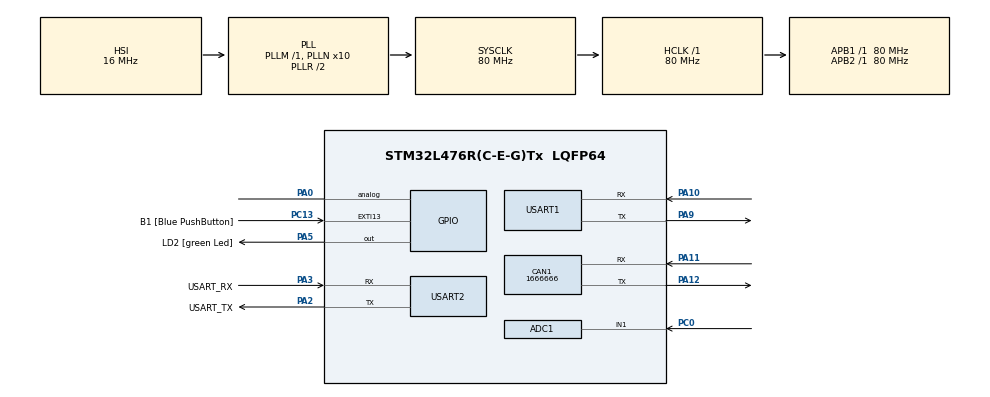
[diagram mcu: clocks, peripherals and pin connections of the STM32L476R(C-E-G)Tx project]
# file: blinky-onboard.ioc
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ADC1.Channel-0\#ChannelRegularConversion=ADC_CHANNEL_1
ADC1.NbrOfConversionFlag=1
ADC1.OffsetNumber-0\#ChannelRegularConversion=ADC_OFFSET_NONE
ADC1.Rank-0\#ChannelRegularConversion=1
ADC1.SamplingTime-0\#ChannelRegularConversion=ADC_SAMPLETIME_2CYCLES_5
ADC1.master=1
CAN1.CalculateBaudRate=1666666
CAN1.CalculateTimeBit=600
CAN1.CalculateTimeQuantum=200.0
Mcu.Family=STM32L4
Mcu.Name=STM32L476R(C-E-G)Tx
Mcu.Package=LQFP64
NVIC.PriorityGroup=NVIC_PRIORITYGROUP_4
PA0.Signal=GPIO_Analog
PA10.Mode=Asynchronous
PA10.Signal=USART1_RX
PA11.Mode=CAN_Activate
PA11.Signal=CAN1_RX
PA12.Mode=CAN_Activate
PA12.Signal=CAN1_TX
PA13\ (JTMS-SWDIO).GPIO_Label=TMS
PA13\ (JTMS-SWDIO).Mode=Serial_Wire
PA13\ (JTMS-SWDIO).Signal=SYS_JTMS-SWDIO
PA14\ (JTCK-SWCLK).GPIO_Label=TCK
PA14\ (JTCK-SWCLK).Mode=Serial_Wire
PA14\ (JTCK-SWCLK).Signal=SYS_JTCK-SWCLK
PA2.GPIO_Label=USART_TX
PA2.GPIO_Mode=GPIO_MODE_AF_PP
PA2.GPIO_PuPd=GPIO_NOPULL
PA2.GPIO_Speed=GPIO_SPEED_FREQ_VERY_HIGH
PA2.Mode=Asynchronous
PA2.Signal=USART2_TX
PA3.GPIO_Label=USART_RX
PA3.GPIO_Mode=GPIO_MODE_AF_PP
PA3.GPIO_PuPd=GPIO_NOPULL
PA3.GPIO_Speed=GPIO_SPEED_FREQ_VERY_HIGH
PA3.Mode=Asynchronous
PA3.Signal=USART2_RX
PA5.GPIO_Label=LD2 [green Led]
PA5.GPIO_ModeDefaultOutputPP=GPIO_MODE_OUTPUT_PP
PA5.GPIO_PuPd=GPIO_NOPULL
PA5.GPIO_Speed=GPIO_SPEED_FREQ_LOW
PA5.Signal=GPIO_Output
PA9.Mode=Asynchronous
PA9.Signal=USART1_TX
PB3\ (JTDO-TRACESWO).GPIO_Label=SWO
PB3\ (JTDO-TRACESWO).Signal=SYS_JTDO-SWO
PC0.Signal=ADCx_IN1
PC13.GPIO_Label=B1 [Blue PushButton]
PC13.GPIO_ModeDefaultEXTI=GPIO_MODE_IT_FALLING
PC13.GPIO_PuPd=GPIO_NOPULL
PC13.Signal=GPXTI13
PC14-OSC32_IN\ (PC14).Mode=LSE-External-Oscillator
PC14-OSC32_IN\ (PC14).Signal=RCC_OSC32_IN
PC15-OSC32_OUT\ (PC15).Mode=LSE-External-Oscillator
PC15-OSC32_OUT\ (PC15).Signal=RCC_OSC32_OUT
PH0-OSC_IN\ (PH0).Signal=RCC_OSC_IN
PH1-OSC_OUT\ (PH1).Signal=RCC_OSC_OUT
ProjectManager.HeapSize=0x200
ProjectManager.StackSize=0x400
ProjectManager.TargetToolchain=STM32CubeIDE
RCC.ADCFreq_Value=64000000
RCC.AHBFreq_Value=80000000
RCC.APB1Freq_Value=80000000
RCC.APB1TimFreq_Value=80000000
RCC.APB2Freq_Value=80000000
RCC.APB2TimFreq_Value=80000000
RCC.CortexFreq_Value=80000000
RCC.HCLKFreq_Value=80000000
RCC.HSE_VALUE=8000000
RCC.HSI_VALUE=16000000
RCC.MSI_VALUE=4000000
RCC.PLLN=10
RCC.PLLSourceVirtual=RCC_PLLSOURCE_HSI
RCC.PREFETCH_ENABLE=1
RCC.SYSCLKFreq_VALUE=80000000
RCC.SYSCLKSource=RCC_SYSCLKSOURCE_PLLCLK
RCC.USBFreq_Value=64000000
RCC.VCOOutputFreq_Value=160000000
SH.ADCx_IN1.0=ADC1_IN1,IN1-Single-Ended
USART1.VirtualMode-Asynchronous=VM_ASYNC
USART2.VirtualMode-Asynchronous=VM_ASYNC
board=NUCLEO-L476RG

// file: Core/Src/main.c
/* USER CODE BEGIN Header */
/**
  ******************************************************************************
  * @file           : main.c
  * @brief          : Main program body
  ******************************************************************************
  * @attention
  *
  * Copyright (c) 2025 STMicroelectronics.
  * All rights reserved.
  *
  * This software is licensed under terms that can be found in the LICENSE file
  * in the root directory of this software component.
  * If no LICENSE file comes with this software, it is provided AS-IS.
  *
  ******************************************************************************
  */
/* USER CODE END Header */
#include "main.h"

/* USER CODE BEGIN Includes */
#include "stdio.h"
/* USER CODE END Includes */

ADC_HandleTypeDef hadc1;

CAN_HandleTypeDef hcan1;

UART_HandleTypeDef huart1;
UART_HandleTypeDef huart2;

void SystemClock_Config(void);
static void MX_GPIO_Init(void);
static void MX_USART2_UART_Init(void);
static void MX_ADC1_Init(void);
static void MX_USART1_UART_Init(void);
static void MX_CAN1_Init(void);

/* USER CODE BEGIN 0 */
int _write(int file, char *ptr, int len)
{
  HAL_UART_Transmit(&huart2, (uint8_t*)ptr, len, HAL_MAX_DELAY);
  return len;
}

/* USER CODE END 0 */

int main(void)
{

  /* MCU Configuration--------------------------------------------------------*/

  /* Reset of all peripherals, Initializes the Flash interface and the Systick. */
  HAL_Init();

  /* Configure the system clock */
  SystemClock_Config();

  /* Initialize all configured peripherals */
  MX_GPIO_Init();
  MX_USART2_UART_Init();
  MX_ADC1_Init();
  MX_USART1_UART_Init();
  MX_CAN1_Init();
  /* USER CODE BEGIN 2 */

  // --- ADC & CAN Setup ---
  uint32_t adc_value;
  CAN_TxHeaderTypeDef   TxHeader;
  uint8_t               TxData[8];
  uint32_t              TxMailbox;

  // Configure the CAN Message Header (this won't change in the loop)
  TxHeader.IDE = CAN_ID_STD;
  TxHeader.StdId = 0x333;
  TxHeader.RTR = CAN_RTR_DATA;
  TxHeader.DLC = 4; // We are sending 4 bytes of data (a 32-bit integer)

  // Start the ADC
  HAL_ADC_Start(&hadc1);

  // Start the CAN Peripheral
  if (HAL_CAN_Start(&hcan1) != HAL_OK)
  {
    Error_Handler();
  }

  printf("--- ADC to CAN Program Started ---\r\n");
  printf("--- CAN bus speed: 500 kbps ---\r\n");

  /* USER CODE END 2 */

  /* Infinite loop */
  while (1)
  {

    /* USER CODE BEGIN 3 */
	// 1. Poll for ADC conversion and read the value
	if (HAL_ADC_PollForConversion(&hadc1, 100) == HAL_OK)
	{
		adc_value = HAL_ADC_GetValue(&hadc1);
	}

	// 2. Print the ADC value to the serial monitor
	printf("ADC Value: %lu\r\n", adc_value);

	// 3. Prepare the CAN message payload with the ADC data
	TxData[0] = (adc_value >> 24)  & 0xFF; // Most significant byte
	TxData[1] = (adc_value >> 16)  & 0xFF;
	TxData[2] = (adc_value >> 8)   & 0xFF;
	TxData[3] = (adc_value >> 0)   & 0xFF; // Least significant byte

	// 4. Transmit the CAN message
	if (HAL_CAN_AddTxMessage(&hcan1, &TxHeader, TxData, &TxMailbox) != HAL_OK)
	{
	   Error_Handler();
	}

	// 5. Toggle the LED and wait for the next cycle
	HAL_GPIO_TogglePin(LD2_GPIO_Port, LD2_Pin);
	HAL_Delay(200); // Send message every 100ms
  }
  /* USER CODE END 3 */
}

void SystemClock_Config(void)
{
  RCC_OscInitTypeDef RCC_OscInitStruct = {0};
  RCC_ClkInitTypeDef RCC_ClkInitStruct = {0};

  /** Configure the main internal regulator output voltage
  */
  if (HAL_PWREx_ControlVoltageScaling(PWR_REGULATOR_VOLTAGE_SCALE1) != HAL_OK)
  {
    Error_Handler();
  }

  /** Initializes the RCC Oscillators according to the specified parameters
  * in the RCC_OscInitTypeDef structure.
  */
  RCC_OscInitStruct.OscillatorType = RCC_OSCILLATORTYPE_HSI;
  RCC_OscInitStruct.HSIState = RCC_HSI_ON;
  RCC_OscInitStruct.HSICalibrationValue = RCC_HSICALIBRATION_DEFAULT;
  RCC_OscInitStruct.PLL.PLLState = RCC_PLL_ON;
  RCC_OscInitStruct.PLL.PLLSource = RCC_PLLSOURCE_HSI;
  RCC_OscInitStruct.PLL.PLLM = 1;
  RCC_OscInitStruct.PLL.PLLN = 10;
  RCC_OscInitStruct.PLL.PLLP = RCC_PLLP_DIV7;
  RCC_OscInitStruct.PLL.PLLQ = RCC_PLLQ_DIV2;
  RCC_OscInitStruct.PLL.PLLR = RCC_PLLR_DIV2;
  if (HAL_RCC_OscConfig(&RCC_OscInitStruct) != HAL_OK)
  {
    Error_Handler();
  }

  /** Initializes the CPU, AHB and APB buses clocks
  */
  RCC_ClkInitStruct.ClockType = RCC_CLOCKTYPE_HCLK|RCC_CLOCKTYPE_SYSCLK
                              |RCC_CLOCKTYPE_PCLK1|RCC_CLOCKTYPE_PCLK2;
  RCC_ClkInitStruct.SYSCLKSource = RCC_SYSCLKSOURCE_PLLCLK;
  RCC_ClkInitStruct.AHBCLKDivider = RCC_SYSCLK_DIV1;
  RCC_ClkInitStruct.APB1CLKDivider = RCC_HCLK_DIV1;
  RCC_ClkInitStruct.APB2CLKDivider = RCC_HCLK_DIV1;

  if (HAL_RCC_ClockConfig(&RCC_ClkInitStruct, FLASH_LATENCY_4) != HAL_OK)
  {
    Error_Handler();
  }
}

static void MX_ADC1_Init(void)
{

  ADC_MultiModeTypeDef multimode = {0};
  ADC_ChannelConfTypeDef sConfig = {0};

  /** Common config
  */
  hadc1.Instance = ADC1;
  hadc1.Init.ClockPrescaler = ADC_CLOCK_ASYNC_DIV1;
  hadc1.Init.Resolution = ADC_RESOLUTION_12B;
  hadc1.Init.DataAlign = ADC_DATAALIGN_RIGHT;
  hadc1.Init.ScanConvMode = ADC_SCAN_DISABLE;
  hadc1.Init.EOCSelection = ADC_EOC_SINGLE_CONV;
  hadc1.Init.LowPowerAutoWait = DISABLE;
  hadc1.Init.ContinuousConvMode = DISABLE;
  hadc1.Init.NbrOfConversion = 1;
  hadc1.Init.DiscontinuousConvMode = DISABLE;
  hadc1.Init.ExternalTrigConv = ADC_SOFTWARE_START;
  hadc1.Init.ExternalTrigConvEdge = ADC_EXTERNALTRIGCONVEDGE_NONE;
  hadc1.Init.DMAContinuousRequests = DISABLE;
  hadc1.Init.Overrun = ADC_OVR_DATA_PRESERVED;
  hadc1.Init.OversamplingMode = DISABLE;
  if (HAL_ADC_Init(&hadc1) != HAL_OK)
  {
    Error_Handler();
  }

  /** Configure the ADC multi-mode
  */
  multimode.Mode = ADC_MODE_INDEPENDENT;
  if (HAL_ADCEx_MultiModeConfigChannel(&hadc1, &multimode) != HAL_OK)
  {
    Error_Handler();
  }

  /** Configure Regular Channel
  */
  sConfig.Channel = ADC_CHANNEL_1;
  sConfig.Rank = ADC_REGULAR_RANK_1;
  sConfig.SamplingTime = ADC_SAMPLETIME_2CYCLES_5;
  sConfig.SingleDiff = ADC_SINGLE_ENDED;
  sConfig.OffsetNumber = ADC_OFFSET_NONE;
  sConfig.Offset = 0;
  if (HAL_ADC_ConfigChannel(&hadc1, &sConfig) != HAL_OK)
  {
    Error_Handler();
  }

}

static void MX_CAN1_Init(void)
{

  hcan1.Instance = CAN1;
  hcan1.Init.Prescaler = 16;
  hcan1.Init.Mode = CAN_MODE_NORMAL;
  hcan1.Init.SyncJumpWidth = CAN_SJW_1TQ;
  hcan1.Init.TimeSeg1 = CAN_BS1_1TQ;
  hcan1.Init.TimeSeg2 = CAN_BS2_1TQ;
  hcan1.Init.TimeTriggeredMode = DISABLE;
  hcan1.Init.AutoBusOff = DISABLE;
  hcan1.Init.AutoWakeUp = DISABLE;
  hcan1.Init.AutoRetransmission = DISABLE;
  hcan1.Init.ReceiveFifoLocked = DISABLE;
  hcan1.Init.TransmitFifoPriority = DISABLE;
  if (HAL_CAN_Init(&hcan1) != HAL_OK)
  {
    Error_Handler();
  }

}

static void MX_USART1_UART_Init(void)
{

  huart1.Instance = USART1;
  huart1.Init.BaudRate = 115200;
  huart1.Init.WordLength = UART_WORDLENGTH_8B;
  huart1.Init.StopBits = UART_STOPBITS_1;
  huart1.Init.Parity = UART_PARITY_NONE;
  huart1.Init.Mode = UART_MODE_TX_RX;
  huart1.Init.HwFlowCtl = UART_HWCONTROL_NONE;
  huart1.Init.OverSampling = UART_OVERSAMPLING_16;
  huart1.Init.OneBitSampling = UART_ONE_BIT_SAMPLE_DISABLE;
  huart1.AdvancedInit.AdvFeatureInit = UART_ADVFEATURE_NO_INIT;
  if (HAL_UART_Init(&huart1) != HAL_OK)
  {
    Error_Handler();
  }

}

static void MX_USART2_UART_Init(void)
{

  huart2.Instance = USART2;
  huart2.Init.BaudRate = 115200;
  huart2.Init.WordLength = UART_WORDLENGTH_8B;
  huart2.Init.StopBits = UART_STOPBITS_1;
  huart2.Init.Parity = UART_PARITY_NONE;
  huart2.Init.Mode = UART_MODE_TX_RX;
  huart2.Init.HwFlowCtl = UART_HWCONTROL_NONE;
  huart2.Init.OverSampling = UART_OVERSAMPLING_16;
  huart2.Init.OneBitSampling = UART_ONE_BIT_SAMPLE_DISABLE;
  huart2.AdvancedInit.AdvFeatureInit = UART_ADVFEATURE_NO_INIT;
  if (HAL_UART_Init(&huart2) != HAL_OK)
  {
    Error_Handler();
  }

}

static void MX_GPIO_Init(void)
{
  GPIO_InitTypeDef GPIO_InitStruct = {0};

  /* GPIO Ports Clock Enable */
  __HAL_RCC_GPIOC_CLK_ENABLE();
  __HAL_RCC_GPIOH_CLK_ENABLE();
  __HAL_RCC_GPIOA_CLK_ENABLE();
  __HAL_RCC_GPIOB_CLK_ENABLE();

  /*Configure GPIO pin Output Level */
  HAL_GPIO_WritePin(LD2_GPIO_Port, LD2_Pin, GPIO_PIN_RESET);

  /*Configure GPIO pin : B1_Pin */
  GPIO_InitStruct.Pin = B1_Pin;
  GPIO_InitStruct.Mode = GPIO_MODE_IT_FALLING;
  GPIO_InitStruct.Pull = GPIO_NOPULL;
  HAL_GPIO_Init(B1_GPIO_Port, &GPIO_InitStruct);

  /*Configure GPIO pin : PA0 */
  GPIO_InitStruct.Pin = GPIO_PIN_0;
  GPIO_InitStruct.Mode = GPIO_MODE_ANALOG;
  GPIO_InitStruct.Pull = GPIO_NOPULL;
  HAL_GPIO_Init(GPIOA, &GPIO_InitStruct);

  /*Configure GPIO pin : LD2_Pin */
  GPIO_InitStruct.Pin = LD2_Pin;
  GPIO_InitStruct.Mode = GPIO_MODE_OUTPUT_PP;
  GPIO_InitStruct.Pull = GPIO_NOPULL;
  GPIO_InitStruct.Speed = GPIO_SPEED_FREQ_LOW;
  HAL_GPIO_Init(LD2_GPIO_Port, &GPIO_InitStruct);

}

void Error_Handler(void)
{
  __disable_irq();
  while (1)
  {
  }
}
